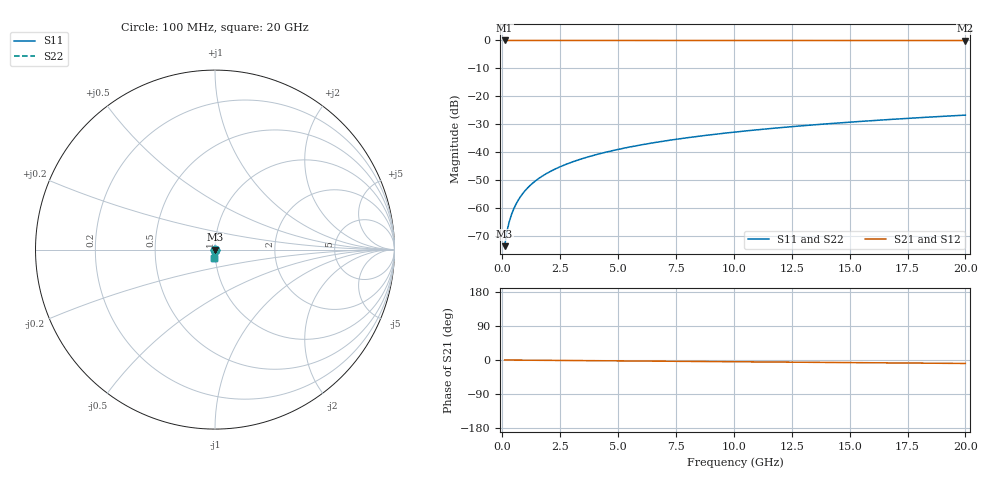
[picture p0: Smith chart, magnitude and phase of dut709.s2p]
! Touchstone file exported from HFSS 2026.1.0
!  File:  C:/ffzhzh/LocalFiles/Ansys_Project_Files/temp_train_TSV_709_1783181993_51560.aedt
!  Generated:  12:21:18 AM Jul  5, 2026
!  Design:  TSV
!  Project:  temp_train_TSV_709_1783181993_51560
! Variables:
!  h_bsmrdl = 2um
!  h_ox = 20um
!  h_rdl = 5um
!  h_sub = 91.9um
!  h_tmrdl = 5um
!  h_tsv = 91.9um
!  h_via = 3um
!  l_bsmrdl = 300um
!  l_sub = 424.64um
!  l_tmrdl = 200um
!  m_sub = 200um
!  pitch = 37.95um
!  r_tsv = 12.32um
!  s_tmrdl = 10um
!  w_bsmrdl = 18um
!  w_sub = 500um
!  w_tmrdl = 12um
!  x_tsv_center1 = 206um
!  x_tsv_center2 = 524um
!  x_tsv_center3 = 736um
!  x_tsv_center4 = 1054um
!  x_tsv_center5 = 1266um
!  x_tsv_center6 = 1584um
# GHz S MA R 50.000000
! Terminal data exported
! Port[1] = TSV1_1_T1
! Port[2] = TSV1_1_T2
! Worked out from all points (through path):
!   200 points, 100 MHz to 20 GHz, reference 50 ohm
!   highest |S21| = 0.00 dB at 100 MHz (marker M1); lowest = 0.0 dB at 20 GHz (marker M2)
!   group delay of S21, straight-line fit = 1.26 ps
!   lowest |S11| = -73.5 dB at 100 MHz (marker M3), VSWR 1.00, Z = 50 - j0.018 ohm
!   |S11| at or under -10 dB: start of sweep to end of sweep
!   |S22| runs from -73.5 to -26.7 dB; largest |S21 - S12| = 3.2e-15
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0.1  0.000211 -58.7  0.9999 -0.0  0.9999 -0.0  0.000211 -58.7
! Gamma 0 0 0 0
! Port Impedance 50 0 50 0
0.2  0.0003861 -71.0  0.9999 -0.1  0.9999 -0.1  0.0003861 -71.0
0.3  0.0005771 -75.0  0.9998 -0.1  0.9998 -0.1  0.0005771 -75.0
0.4  0.0007787 -76.8  0.9998 -0.2  0.9998 -0.2  0.0007787 -76.8
0.5  0.0009888 -78.0  0.9998 -0.2  0.9998 -0.2  0.0009888 -78.0
0.7  0.001427 -79.7  0.9997 -0.3  0.9997 -0.3  0.001427 -79.7
0.8  0.001651 -80.3  0.9997 -0.4  0.9997 -0.4  0.001651 -80.3
1  0.002105 -81.5  0.9997 -0.5  0.9997 -0.5  0.002105 -81.5
1.2  0.002563 -82.5  0.9996 -0.6  0.9996 -0.6  0.002563 -82.5
1.4  0.003021 -83.3  0.9996 -0.7  0.9996 -0.7  0.003021 -83.3
1.7  0.003709 -84.3  0.9996 -0.8  0.9996 -0.8  0.003709 -84.3
2  0.004396 -85.1  0.9995 -0.9  0.9995 -0.9  0.004396 -85.1
2.7  0.006 -86.4  0.9995 -1.2  0.9995 -1.2  0.006 -86.4
3.5  0.007837 -87.5  0.9994 -1.6  0.9994 -1.6  0.007837 -87.5
4.2  0.009451 -88.2  0.9993 -1.9  0.9993 -1.9  0.009451 -88.2
5  0.0113 -88.9  0.9993 -2.3  0.9993 -2.3  0.0113 -88.9
6.8  0.01549 -90.2  0.9991 -3.1  0.9991 -3.1  0.01549 -90.2
8.3  0.019 -91.1  0.9989 -3.8  0.9989 -3.8  0.019 -91.1
10.1  0.02321 -92.2  0.9988 -4.6  0.9988 -4.6  0.02321 -92.2
13.4  0.03093 -94.1  0.9984 -6.1  0.9984 -6.1  0.03093 -94.1
16.7  0.03865 -95.8  0.998 -7.6  0.998 -7.6  0.03865 -95.8
20  0.04636 -97.4  0.9975 -9.1  0.9975 -9.1  0.04636 -97.4
